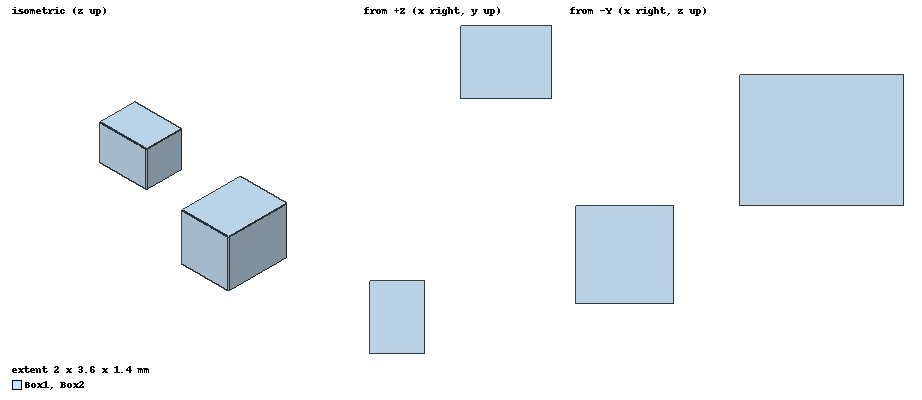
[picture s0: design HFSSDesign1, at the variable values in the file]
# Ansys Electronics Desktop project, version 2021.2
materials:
  vacuum: permittivity=1

design HFSSDesign1 (HFSS, DrivenModal, model units mm)
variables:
  a = 0.4mm
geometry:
  Box1 [vacuum] = box(corner=(0mm, 0mm, 0mm), size=(1mm, 0.8mm, 0.8mm))
  coordinate_system FaceCS1 = face of Box1: Origin=Box1.vertex(6 of 8) MoveToEnd FaceID=Box1.face(+x) AxisPosn=Box1.vertex(5 of 8) WhichAxis=X ZRotationAngle=0deg XOffset=0mm YOffset=0mm
  Box2 [vacuum] = box(corner=(-1mm, -2.8mm, 0mm), size=(0.6mm, 0.8mm, -0.6mm))
  coordinate_system FaceCS2 = face of Box2: Origin=Box2.face(+x) FaceID=Box2.face(+x) AxisPosn=Box2.face(+x) WhichAxis=X ZRotationAngle=0deg XOffset=0mm YOffset=0mm
  coordinate_system RelativeCS1 = origin=(-1.2mm, 1.6mm, 0mm) x=(1.2mm, 0.8mm, 0mm) y=(0mm, 0.6mm, 0mm)
  coordinate_system RelativeCS2 = origin=(0mm, 0mm, 0mm) x=(0.6mm, -1mm, 0mm) y=(-0.2mm, -1.4mm, 0mm) in FaceCS2
  coordinate_system RelativeCS3 = origin=(-2.2mm, -1mm, 0mm) x=(1mm, 0mm, 0mm) y=(0mm, 1mm, 0mm) in RelativeCS1
  coordinate_system FaceCS3 = face of Box1: Origin=Box1.vertex(1 of 8) FaceID=Box1.face(+z) AxisPosn=centre of Box1.face(+z) WhichAxis=X ZRotationAngle=0deg XOffset=0mm YOffset=0mm
